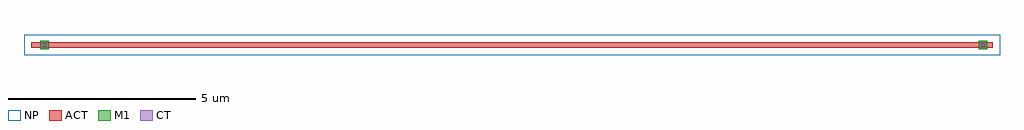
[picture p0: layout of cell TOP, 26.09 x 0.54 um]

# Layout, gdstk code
import gdstk
lib = gdstk.Library(unit=1e-6, precision=1e-09)
def R(c, l, rs):  # rectangles x0, y0, x1, y1
    for r in rs: c.add(gdstk.rectangle(r[:2], r[2:], *l))
ACT = (2, 1)
NP = (52, 1)
CT = (72, 1)
M1 = (81, 1)

top = lib.new_cell('TOP')
R(top, ACT, [(0,0,25.69,0.14)])
R(top, NP, [(-0.2,-0.2,25.89,0.34)])
R(top, CT, [(0.3,0.025,0.39,0.115), (25.39,0.025,25.48,0.115)])
R(top, M1, [(0.235,-0.04,0.455,0.18), (25.325,-0.04,25.545,0.18)])

lib.write_gds('TOP.gds')
